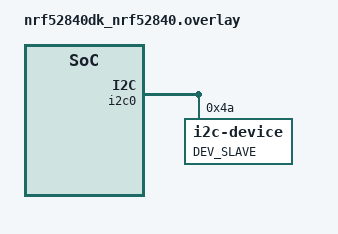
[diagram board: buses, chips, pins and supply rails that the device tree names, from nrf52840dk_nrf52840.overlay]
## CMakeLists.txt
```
cmake_minimum_required(VERSION 3.20.0)

if(DEFINED CUSTOM_BOILERPLATE)
    include(${CUSTOM_BOILERPLATE})
    return()
endif()

set(COMMON_PATH ${CMAKE_CURRENT_LIST_DIR}/common)
include(${COMMON_PATH}/common.cmake)

GET_DEVICE_CONFIG_FILES(${BOARD} boards)

find_package(Zephyr REQUIRED HINTS $ENV{ZEPHYR_BASE})
project(nrf52_new)
target_sources(app PRIVATE main.c)
target_include_directories(app PRIVATE common)
```

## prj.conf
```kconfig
# DISABLE RTT
CONFIG_USE_SEGGER_RTT=n
CONFIG_RTT_CONSOLE=n

# Enable UART
CONFIG_UART_CONSOLE=y
CONFIG_SERIAL=y
CONFIG_LOG_BACKEND_RTT=n
CONFIG_LOG_BACKEND_UART=n

# Enable console API
CONFIG_CONSOLE_SUBSYS=y
CONFIG_CONSOLE_GETCHAR=y
CONFIG_CONSOLE_GETCHAR_BUFSIZE=102400
```

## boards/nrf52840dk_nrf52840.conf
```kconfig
CONFIG_NRFX_TWIM0=y
```

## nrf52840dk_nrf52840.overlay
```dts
&i2c0 {
    dev_slave: dev_slave@4a{
        compatible = "i2c-device";
        reg = < 0x4a >;
        label = "DEV_SLAVE";
    };
};
```

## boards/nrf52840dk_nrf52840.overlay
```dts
#include "../common/common-pinctrl.dtsi"

&i2c0 {
    status = "okay";
    compatible = "nordic,nrf-twim";
    pinctrl-0 = <&i2c_master_dummy>;
};
```

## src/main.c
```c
#include <zephyr/kernel.h>
#include <zephyr/device.h>
#include <zephyr/logging/log.h>
#include <zephyr/drivers/i2c.h>
#include <SEGGER_RTT.h>

#define MAX_BUFFER_SIZE 128
#define I2C0_NODE DT_NODELABEL(dev_slave)

/* Init log module */
LOG_MODULE_REGISTER(i2c_master, LOG_LEVEL_INF);

/* Internal RTT buffer */
static uint8_t rtt_rx_buffer[MAX_BUFFER_SIZE];

void read_full_string_from_console(void) 
{
    char buffer[MAX_BUFFER_SIZE];
    uint32_t index = 0;
    int32_t byte_read = 0;

    // Initialize the buffer
    memset(buffer, 0, sizeof(buffer));

    // Read characters from RTT
    while (1) {
        byte_read = SEGGER_RTT_Read(0, &buffer[index], 1); // Read one byte
        if (byte_read > 0) {
            // Check if the byte is a newline or carriage return
            if (buffer[index] == '\n' || buffer[index] == '\r') {
                buffer[index] = '\0'; // Null-terminate the string
                break;
            }
            index++;
            if (index >= MAX_BUFFER_SIZE - 1) {
                buffer[index] = '\0'; // Ensure the string is null-terminated
                break;
            }
        }
    }

    LOG_INF("Received string: %s\n", buffer);
}

int main(void)
{
    uint8_t config[2] = {rtt_rx_buffer[0]};
    int ret;

    /* Init segger RTT */
    SEGGER_RTT_Init();
    
    /* Init I2C device */
    static const struct i2c_dt_spec dev_i2c = I2C_DT_SPEC_GET(I2C0_NODE);
    if (!device_is_ready(dev_i2c.bus)) 
    {
	    LOG_ERR("I2C bus %s is not ready!\n\r",dev_i2c.bus->name);
	    return;
    }

    LOG_INF("Waiting for user input...");
    while(1)
    {
        read_full_string_from_console();
        // Sleep for a short while to avoid busy looping
        k_sleep(K_MSEC(10));
    }
}
```
